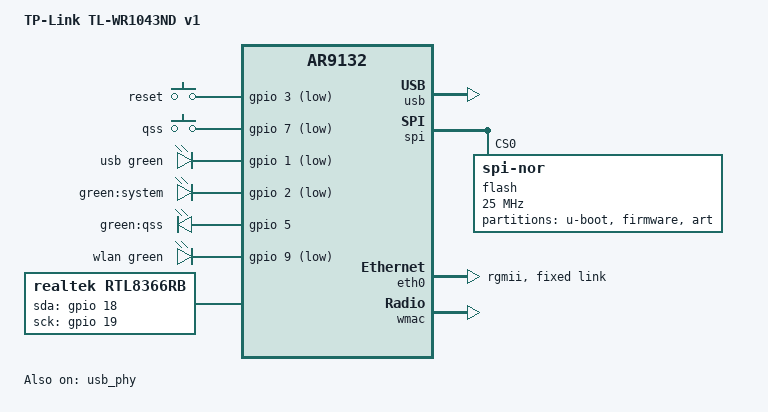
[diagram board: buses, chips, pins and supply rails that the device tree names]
// SPDX-License-Identifier: GPL-2.0-only

#include "ar9132.dtsi"

#include <dt-bindings/gpio/gpio.h>
#include <dt-bindings/input/input.h>
#include <dt-bindings/leds/common.h>

/ {
	compatible = "tplink,tl-wr1043nd-v1", "qca,ar9132";
	model = "TP-Link TL-WR1043ND v1";

	aliases {
		led-boot = &led_system;
		led-failsafe = &led_system;
		led-running = &led_system;
		led-upgrade = &led_system;
		label-mac-device = &eth0;
	};

	keys {
		compatible = "gpio-keys";

		reset {
			label = "reset";
			linux,code = <KEY_RESTART>;
			gpios = <&gpio 3 GPIO_ACTIVE_LOW>;
			debounce-interval = <60>;
		};

		qss {
			label = "qss";
			linux,code = <KEY_WPS_BUTTON>;
			gpios = <&gpio 7 GPIO_ACTIVE_LOW>;
			debounce-interval = <60>;
		};
	};

	leds {
		compatible = "gpio-leds";

		usb {
			function = LED_FUNCTION_USB;
			color = <LED_COLOR_ID_GREEN>;
			gpios = <&gpio 1 GPIO_ACTIVE_LOW>;
			trigger-sources = <&hub_port>;
			linux,default-trigger = "usbport";
		};

		led_system: system {
			label = "green:system";
			gpios = <&gpio 2 GPIO_ACTIVE_LOW>;
			linux,default-trigger = "heartbeat";
		};

		qss {
			label = "green:qss";
			gpios = <&gpio 5 GPIO_ACTIVE_HIGH>;
		};

		wlan {
			function = LED_FUNCTION_WLAN;
			color = <LED_COLOR_ID_GREEN>;
			gpios = <&gpio 9 GPIO_ACTIVE_LOW>;
			linux,default-trigger = "phy0tpt";
		};
	};

	rtl8366rb {
		compatible = "realtek,rtl8366rb";
		gpio-sda = <&gpio 18 GPIO_ACTIVE_HIGH>;
		gpio-sck = <&gpio 19 GPIO_ACTIVE_HIGH>;

		resets = <&rst 8>;
		reset-names = "switch";
	};
};

&usb {
	status = "okay";
};

&usb_phy {
	status = "okay";
};

&spi {
	status = "okay";

	flash@0 {
		compatible = "jedec,spi-nor";
		reg = <0>;
		spi-max-frequency = <25000000>;
		m25p,fast-read;

		partitions {
			compatible = "fixed-partitions";
			#address-cells = <1>;
			#size-cells = <1>;

			uboot: partition@0 {
				label = "u-boot";
				reg = <0x000000 0x020000>;
				read-only;

				nvmem-layout {
					compatible = "fixed-layout";
					#address-cells = <1>;
					#size-cells = <1>;

					macaddr_uboot_1fc00: macaddr@1fc00 {
						reg = <0x1fc00 0x6>;
					};
				};
			};

			partition@20000 {
				compatible = "tplink,firmware";
				label = "firmware";
				reg = <0x020000 0x7D0000>;
			};

			partition@7f0000 {
				label = "art";
				reg = <0x7f0000 0x010000>;
				read-only;

				nvmem-layout {
					compatible = "fixed-layout";
					#address-cells = <1>;
					#size-cells = <1>;

					cal_art_1000: calibration@1000 {
						reg = <0x1000 0xeb8>;
					};
				};
			};
		};
	};
};

&eth0 {
	status = "okay";

	phy-mode = "rgmii";
	nvmem-cells = <&macaddr_uboot_1fc00>;
	nvmem-cell-names = "mac-address";

	fixed-link {
		speed = <1000>;
		full-duplex;
	};
};

&wmac {
	status = "okay";

	nvmem-cells = <&macaddr_uboot_1fc00>, <&cal_art_1000>;
	nvmem-cell-names = "mac-address", "calibration";
};
